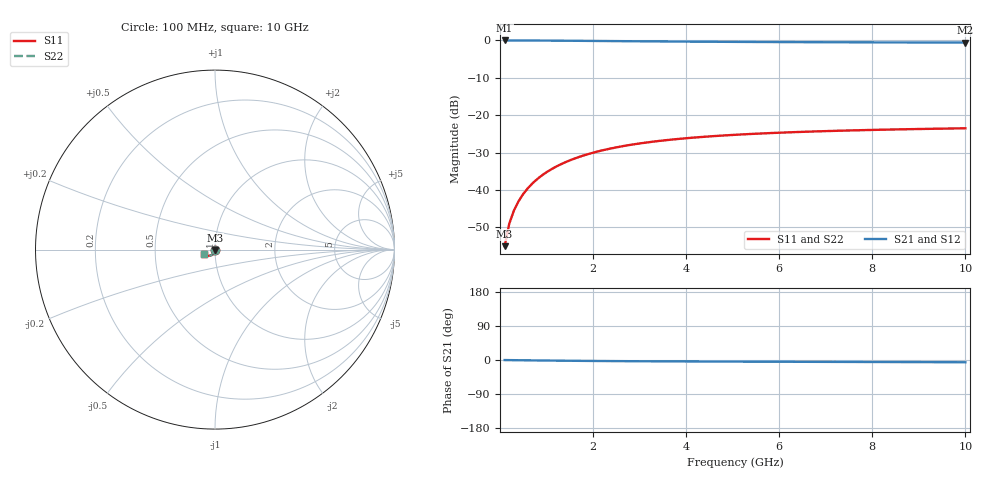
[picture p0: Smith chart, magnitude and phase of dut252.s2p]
! Touchstone file exported from HFSS 2024.1.0
!  File:  C:/UserFiles/LocalFiles/RDL_TSV_Batchsim/temp_TSV1_252_1779390632.aedt
!  Generated:  03:15:43 AM May 22, 2026
!  Design:  TSV1
!  Project:  temp_TSV1_252_1779390632
!  Setup:  Setup1
!  Solution:  Sweep
! Variables:
!  dtsv = 12.11um
!  hbump = 3um
!  htsv = 92.87um
!  lrdl = 252.1521522um
!  p = 40
!  p1 = 43.64um
!  t = 500um
!  trdl = 3um
!  wrdl = 24.89489489um
# GHz S MA R 50.000000
! Terminal data exported
! Port[1] = TSV22_T1
! Port[2] = TSV22_T2
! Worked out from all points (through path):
!   100 points, 100 MHz to 10 GHz, reference 50 ohm
!   highest |S21| = 0.00 dB at 100 MHz (marker M1); lowest = -0.6 dB at 10 GHz (marker M2)
!   lowest |S11| = -55.0 dB at 100 MHz (marker M3), VSWR 1.00, Z = 50 - j0.178 ohm
!   |S11| at or under -10 dB: start of sweep to end of sweep
!   |S22| runs from -55.0 to -23.5 dB; largest |S21 - S12| = 4.2e-15
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0.1  0.00178 -87.9  0.9998 -0.2  0.9998 -0.2  0.00178 -87.9
! Gamma 0 0 0 0
! Port Impedance 50 0 50 0
0.2  0.003556 -91.1  0.9997 -0.3  0.9997 -0.3  0.003556 -91.1
0.3  0.005333 -93.1  0.9994 -0.4  0.9994 -0.4  0.005333 -93.1
0.4  0.007103 -94.9  0.9991 -0.6  0.9991 -0.6  0.007103 -94.9
0.5  0.008862 -96.6  0.9986 -0.7  0.9986 -0.7  0.008862 -96.6
0.6  0.0106 -98.2  0.9981 -0.9  0.9981 -0.9  0.0106 -98.2
0.7  0.01232 -99.8  0.9975 -1.0  0.9975 -1.0  0.01232 -99.8
0.8  0.01402 -101.4  0.9969 -1.2  0.9969 -1.2  0.01402 -101.4
0.9  0.01568 -102.9  0.9961 -1.3  0.9961 -1.3  0.01568 -102.9
1.1  0.01892 -105.9  0.9945 -1.5  0.9945 -1.5  0.01892 -105.9
1.4  0.0235 -110.1  0.9917 -1.9  0.9917 -1.9  0.0235 -110.1
1.6  0.02635 -112.8  0.9896 -2.1  0.9896 -2.1  0.02635 -112.8
1.8  0.02905 -115.3  0.9875 -2.3  0.9875 -2.3  0.02905 -115.3
2.1  0.03279 -118.9  0.9842 -2.6  0.9842 -2.6  0.03279 -118.9
2.5  0.03723 -123.2  0.9797 -2.9  0.9797 -2.9  0.03723 -123.2
2.9  0.0411 -127.2  0.9754 -3.2  0.9754 -3.2  0.0411 -127.2
3.4  0.04523 -131.5  0.9704 -3.5  0.9704 -3.5  0.04523 -131.5
4.2  0.05051 -137.4  0.9633 -3.9  0.9633 -3.9  0.05051 -137.4
5.1  0.05502 -142.8  0.9567 -4.3  0.9567 -4.3  0.05502 -142.8
6.7  0.0606 -150.1  0.948 -4.8  0.948 -4.8  0.0606 -150.1
8.4  0.06447 -155.9  0.9416 -5.4  0.9416 -5.4  0.06447 -155.9
10  0.06697 -160.1  0.9373 -5.9  0.9373 -5.9  0.06697 -160.1
